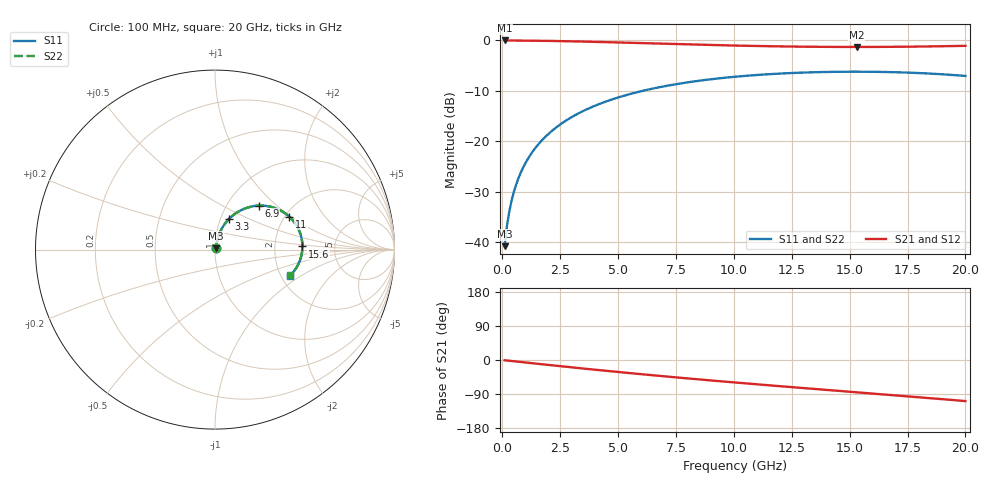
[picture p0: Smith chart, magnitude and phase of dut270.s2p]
! Touchstone file exported from HFSS 2026.1.0
!  File:  C:/ffzhzh/LocalFiles/Ansys_Project_Files/temp_train_TSV_RDL_270_1783084434_37648.aedt
!  Generated:  09:22:33 PM Jul  3, 2026
!  Design:  TSV_RDL
!  Project:  temp_train_TSV_RDL_270_1783084434_37648
! Variables:
!  h_bsmrdl = 3.51um
!  h_ox = 20um
!  h_rdl = 5um
!  h_sub = 52.09um
!  h_tmrdl = 4.49um
!  h_tsv = 52.09um
!  h_via = 3um
!  l_bsmrdl = 125.29um
!  l_sub = 2011.62um
!  l_tmrdl = 273.95um
!  m_sub = 200um
!  pitch = 55.68um
!  r_tsv = 13.62um
!  s_tmrdl = 10um
!  w_bsmrdl = 23.83um
!  w_sub = 500um
!  w_tmrdl = 22.82um
!  x_tsv_center1 = 285.36um
!  x_tsv_center2 = 434.48um
!  x_tsv_center3 = 731.25um
!  x_tsv_center4 = 880.37um
!  x_tsv_center5 = 1177.14um
!  x_tsv_center6 = 1326.26um
# GHz S MA R 50.000000
! Terminal data exported
! Port[1] = TM_RDL1_1_T1
! Port[2] = TM_RDL5_1_T1
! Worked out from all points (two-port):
!   200 points, 100 MHz to 20 GHz, reference 50 ohm
!   highest |S21| = -0.06 dB at 100 MHz (marker M1); lowest = -1.3 dB at 15.3 GHz (marker M2)
!   |S21| within 3 dB of the highest: start of sweep to end of sweep
!   lowest |S11| = -40.8 dB at 100 MHz (marker M3), VSWR 1.02, Z = 50.7 + j0.652 ohm
!   |S11| at or under -10 dB: start of sweep to 6.089 GHz
!   |S22| runs from -40.8 to -6.2 dB; largest |S21 - S12| = 7.1e-15
!   S11 on the Smith chart (normalised r, x): 100 MHz: 1.01, +0.01; 3.3 GHz: 1.10, +0.39; 6.9 GHz: 1.40, +0.78; 11 GHz: 2.11, +0.97; 15.6 GHz: 2.89, +0.13; 20 GHz: 2.24, -0.80
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0.1  0.00915 44.7  0.9936 -0.7  0.9936 -0.7  0.00915 44.7
! Gamma 0 0 0 0
! Port Impedance 50 0 50 0
0.2  0.01444 60.6  0.9931 -1.4  0.9931 -1.4  0.01444 60.6
0.3  0.02006 67.3  0.9927 -2.0  0.9927 -2.0  0.02006 67.3
0.4  0.02577 70.9  0.9924 -2.7  0.9924 -2.7  0.02577 70.9
0.5  0.03155 73.0  0.9921 -3.3  0.9921 -3.3  0.03155 73.0
0.7  0.0432 75.1  0.9915 -4.6  0.9915 -4.6  0.0432 75.1
1  0.06078 75.9  0.9902 -6.6  0.9902 -6.6  0.06078 75.9
1.4  0.08413 75.1  0.9881 -9.2  0.9881 -9.2  0.08413 75.1
1.9  0.1129 73.0  0.9846 -12.4  0.9846 -12.4  0.1129 73.0
2.5  0.1464 69.9  0.9793 -16.3  0.9793 -16.3  0.1464 69.9
3.3  0.1891 65.3  0.9709 -21.3  0.9709 -21.3  0.1891 65.3
3.5  0.1994 64.2  0.9685 -22.5  0.9685 -22.5  0.1994 64.2
5  0.2708 55.6  0.9493 -31.6  0.9493 -31.6  0.2708 55.6
6.8  0.3429 45.6  0.9244 -42.0  0.9244 -42.0  0.3429 45.6
6.9  0.3464 45.0  0.923 -42.5  0.923 -42.5  0.3464 45.0
10.1  0.4356 28.4  0.8839 -59.6  0.8839 -59.6  0.4356 28.4
11  0.4525 24.0  0.8754 -64.2  0.8754 -64.2  0.4525 24.0
13.4  0.4811 12.4  0.8602 -76.0  0.8602 -76.0  0.4811 12.4
15.3  0.4877 3.5  0.8565 -85.2  0.8565 -85.2  0.4877 3.5
15.6  0.4874 2.1  0.8567 -86.7  0.8567 -86.7  0.4874 2.1
16.7  0.4835 -3.1  0.8587 -92.0  0.8587 -92.0  0.4835 -3.1
20  0.4426 -19.0  0.8791 -108.4  0.8791 -108.4  0.4426 -19.0
